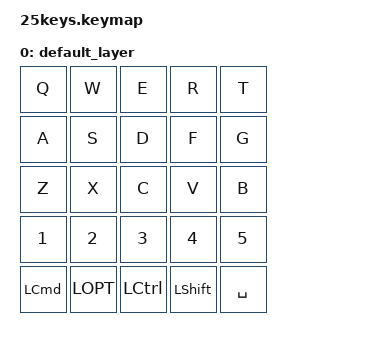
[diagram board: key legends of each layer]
#include <behaviors.dtsi>
#include <dt-bindings/zmk/keys.h>

/ {
    keymap {
        compatible = "zmk,keymap";

        default_layer {
            // Mac用ベースレイヤー (25キー分)
            bindings = <
                &kp Q    &kp W    &kp E    &kp R    &kp T
                &kp A    &kp S    &kp D    &kp F    &kp G
                &kp Z    &kp X    &kp C    &kp V    &kp B
                &kp N1   &kp N2   &kp N3   &kp N4   &kp N5
                &kp LCMD &kp LOPT &kp LCTRL &kp LSHFT &kp SPC
            >;
        };
    };
};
